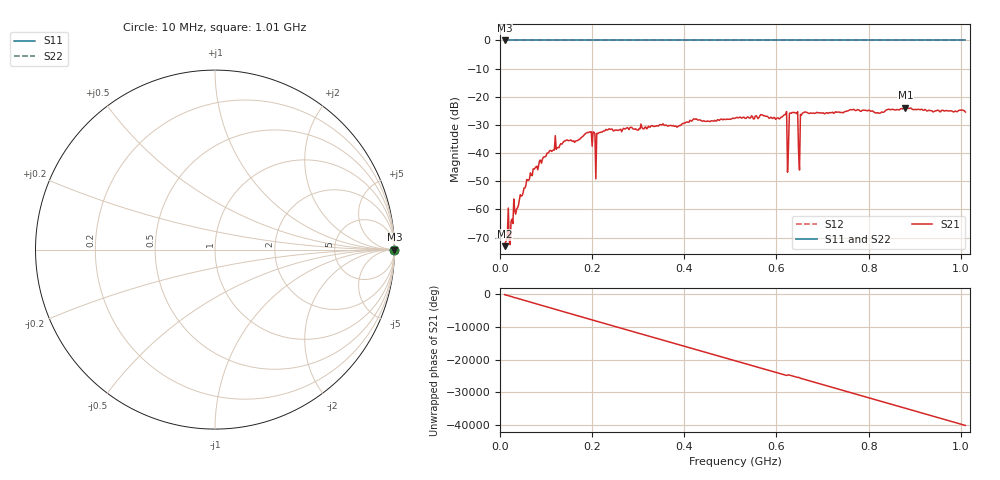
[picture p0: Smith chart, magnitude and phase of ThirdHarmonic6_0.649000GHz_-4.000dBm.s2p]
! 8/15/2025 9:30:55 PM
! C:\ANRITSUVNA\TEMP\TEMP.S2P
! CHANNEL.1
! TR.MEASUREMENT
! RAW.DATA
! RF.CORRECTION.OFF
! AVERAGING.OFF
! IF.BANDWIDTH: 5KHZ
! SWEEPTYPE:  FREQ.SWEEP(Linear)
! Reference Plane Port Info
! PORT:  PORT1  PORT2
! DISTANCE:  0  m  0  m
! TIME:  0  s  0  s
! PHASE.OFFSET:  0  deg.  0  deg.
! LOSS:  0  dB  0  dB
! REF.LOSS:  0  dB  0  dB
! REF.FREQ:  0  Hz  0  Hz
! Power Info
! POWER:  -20  dBm  -20  dBm
! EFF.POWER:  -20  dBm  -20  dBm
! SOURCE.ATTEN:  0  dB  0  dB
! TEST.ATTEN:  0  dB  0  dB
# GHZ S RI R 50.0
! FREQ.GHZ  S11RE  S11IM  S21RE  S21IM  S12RE  S12IM  S22RE  S22IM
!; PortSelection: Port_12
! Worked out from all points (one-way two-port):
!   501 points, 10 MHz to 1.01 GHz, reference 50 ohm
!   highest |S21| = -23.88 dB at 880 MHz (marker M1); lowest = -73.1 dB at 10 MHz (marker M2)
!   lowest |S11| = 0.0 dB at 10 MHz (marker M3)
!   |S11| at or under -10 dB: nowhere
!   |S22| runs from 0.0 to 0.0 dB; largest |S21 - S12| = 1.1
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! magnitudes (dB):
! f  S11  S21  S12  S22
! 10 MHz  0.0  -73.1  0.0  0.0
! 24 MHz  0.0  -64.2  0.0  0.0
! 28 MHz  0.0  -65.0  0.0  0.0
! 76 MHz  0.0  -45.4  0.0  0.0
! 178 MHz  0.0  -34.2  0.0  0.0
! 194 MHz  0.0  -32.5  0.0  0.0
! 204 MHz  0.0  -32.6  0.0  0.0
! 234 MHz  0.0  -31.8  0.0  0.0
! 344 MHz  0.0  -30.4  0.0  0.0
! 510 MHz  0.0  -27.6  0.0  0.0
! 618 MHz  0.0  -26.4  0.0  0.0
! 622 MHz  0.0  -25.3  0.0  0.0
! 628 MHz  0.0  -26.0  0.0  0.0
! 632 MHz  0.0  -25.9  0.0  0.0
! 642 MHz  0.0  -25.7  0.0  0.0
! 646 MHz  0.0  -25.3  0.0  0.0
! 652 MHz  0.0  -26.2  0.0  0.0
! 656 MHz  0.0  -25.8  0.0  0.0
! 678 MHz  0.0  -25.8  0.0  0.0
! 844 MHz  0.0  -24.4  0.0  0.0
! 880 MHz  0.0  -23.9  0.0  0.0
! 1.01 GHz  0.0  -25.4  0.0  0.0
